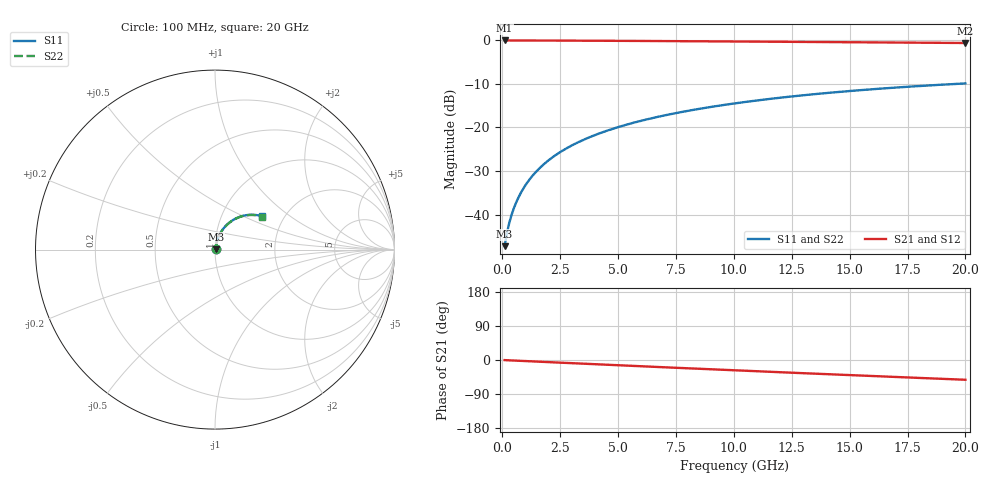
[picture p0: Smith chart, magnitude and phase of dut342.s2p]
! Touchstone file exported from HFSS 2026.1.0
!  File:  C:/ffzhzh/LocalFiles/Ansys_Project_Files/temp_train_TMRDL_342_1783003838_51716.aedt
!  Generated:  10:52:06 PM Jul  2, 2026
!  Design:  TMRDL
!  Project:  temp_train_TMRDL_342_1783003838_51716
! Variables:
!  h_bsmrdl = 2um
!  h_ox = 20um
!  h_rdl = 5um
!  h_sub = 80um
!  h_tmrdl = 4.26um
!  h_tsv = 80um
!  h_via = 3um
!  l_bsmrdl = 300um
!  l_sub = 1269.17um
!  l_tmrdl = 869.17um
!  m_sub = 200um
!  pitch = 36.49um
!  r_tsv = 6um
!  s_tmrdl = 10um
!  w_bsmrdl = 18um
!  w_sub = 500um
!  w_tmrdl = 21.47um
!  x_tsv_center1 = 879.905um
!  x_tsv_center2 = 1197.905um
!  x_tsv_center3 = 2088.545um
!  x_tsv_center4 = 2406.545um
!  x_tsv_center5 = 3297.185um
!  x_tsv_center6 = 3615.185um
# GHz S MA R 50.000000
! Terminal data exported
! Port[1] = TM_RDL1_1_T1
! Port[2] = TM_RDL1_1_T2
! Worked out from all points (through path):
!   200 points, 100 MHz to 20 GHz, reference 50 ohm
!   highest |S21| = -0.03 dB at 100 MHz (marker M1); lowest = -0.6 dB at 20 GHz (marker M2)
!   group delay of S21, straight-line fit = 7.23 ps
!   lowest |S11| = -47.2 dB at 100 MHz (marker M3), VSWR 1.01, Z = 50.4 + j0.247 ohm
!   |S11| at or under -10 dB: start of sweep to 19.61 GHz
!   |S22| runs from -47.2 to -9.9 dB; largest |S21 - S12| = 2e-14
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0.1  0.004344 34.4  0.9964 -0.3  0.9964 -0.3  0.004344 34.4
! Gamma 0 0 0 0
! Port Impedance 50 0 50 0
0.2  0.006121 50.5  0.9961 -0.6  0.9961 -0.6  0.006121 50.5
0.3  0.008018 58.4  0.9959 -0.9  0.9959 -0.9  0.008018 58.4
0.4  0.009924 63.3  0.9957 -1.2  0.9957 -1.2  0.009924 63.3
0.5  0.01184 66.7  0.9955 -1.4  0.9955 -1.4  0.01185 66.7
0.6  0.01379 69.2  0.9954 -1.7  0.9954 -1.7  0.01379 69.2
0.8  0.01774 72.5  0.9952 -2.3  0.9952 -2.3  0.01774 72.5
1.1  0.02376 75.2  0.9949 -3.1  0.9949 -3.1  0.02376 75.1
1.3  0.02782 76.1  0.9947 -3.7  0.9947 -3.7  0.02782 76.1
1.6  0.03392 76.8  0.9943 -4.5  0.9943 -4.5  0.03392 76.8
2.1  0.04407 76.9  0.9935 -5.9  0.9935 -5.9  0.04407 76.9
2.7  0.05616 76.3  0.9924 -7.6  0.9924 -7.6  0.05616 76.3
3.5  0.07203 74.9  0.9906 -9.8  0.9906 -9.8  0.07204 74.8
4.2  0.08564 73.4  0.9888 -11.7  0.9888 -11.7  0.08565 73.3
5  0.1009 71.5  0.9866 -13.8  0.9866 -13.8  0.1009 71.4
5.9  0.1176 69.3  0.9839 -16.3  0.9839 -16.3  0.1176 69.2
6.8  0.1339 67.1  0.981 -18.7  0.981 -18.7  0.1339 67.0
8.3  0.1601 63.5  0.976 -22.6  0.976 -22.6  0.1601 63.3
10.1  0.1899 59.1  0.9695 -27.4  0.9695 -27.4  0.19 58.9
13.4  0.24 51.1  0.957 -35.8  0.957 -35.8  0.2401 50.8
16.7  0.2835 43.2  0.9441 -44.1  0.9441 -44.1  0.2837 42.8
20  0.3202 35.5  0.9319 -52.2  0.9319 -52.2  0.3204 35.0
